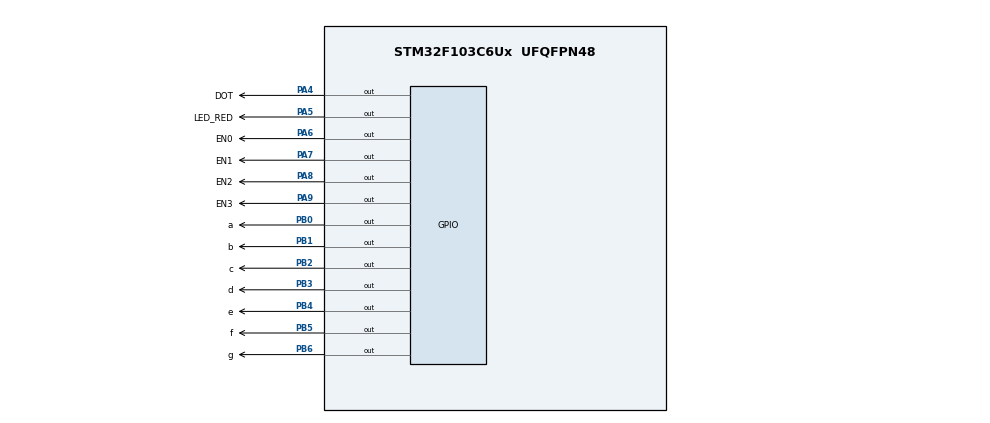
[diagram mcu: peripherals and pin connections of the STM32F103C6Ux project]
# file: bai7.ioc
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Mcu.Family=STM32F1
Mcu.Name=STM32F103C6Ux
Mcu.Package=UFQFPN48
NVIC.PriorityGroup=NVIC_PRIORITYGROUP_4
NVIC.TIM2_IRQn=true\:0\:0\:false\:false\:true\:true\:true
PA4.GPIO_Label=DOT
PA4.Signal=GPIO_Output
PA5.GPIO_Label=LED_RED
PA5.Signal=GPIO_Output
PA6.GPIO_Label=EN0
PA6.Signal=GPIO_Output
PA7.GPIO_Label=EN1
PA7.Signal=GPIO_Output
PA8.GPIO_Label=EN2
PA8.Signal=GPIO_Output
PA9.GPIO_Label=EN3
PA9.Signal=GPIO_Output
PB0.GPIO_Label=a
PB0.Signal=GPIO_Output
PB1.GPIO_Label=b
PB1.Signal=GPIO_Output
PB2.GPIO_Label=c
PB2.Signal=GPIO_Output
PB3.GPIO_Label=d
PB3.Signal=GPIO_Output
PB4.GPIO_Label=e
PB4.Signal=GPIO_Output
PB5.GPIO_Label=f
PB5.Signal=GPIO_Output
PB6.GPIO_Label=g
PB6.Signal=GPIO_Output
ProjectManager.HeapSize=0x200
ProjectManager.StackSize=0x400
ProjectManager.TargetToolchain=STM32CubeIDE
RCC.APB1Freq_Value=8000000
RCC.APB2Freq_Value=8000000
TIM2.Period=9
TIM2.Prescaler=7999
VP_SYS_VS_ND.Mode=No_Debug
VP_TIM2_VS_ClockSourceINT.Mode=Internal
board=custom

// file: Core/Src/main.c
/* USER CODE BEGIN Header */
/**
  ******************************************************************************
  * @file           : main.c
  * @brief          : Main program body
  ******************************************************************************
  * @attention
  *
  * <h2><center>&copy; Copyright (c) 2023 STMicroelectronics.
  * All rights reserved.</center></h2>
  *
  * This software component is licensed by ST under BSD 3-Clause license,
  * the "License"; You may not use this file except in compliance with the
  * License. You may obtain a copy of the License at:
  *                        opensource.org/licenses/BSD-3-Clause
  *
  ******************************************************************************
  */
/* USER CODE END Header */
#include "main.h"
#include "led.h"
#include "set_init.h"
#include "software_timer.h"

TIM_HandleTypeDef htim2;

void SystemClock_Config(void);
static void MX_GPIO_Init(void);
static void MX_TIM2_Init(void);

int main(void)
{

  /* MCU Configuration--------------------------------------------------------*/

  /* Reset of all peripherals, Initializes the Flash interface and the Systick. */
  HAL_Init();

  /* Configure the system clock */
  SystemClock_Config();

  /* Initialize all configured peripherals */
  MX_GPIO_Init();
  MX_TIM2_Init();
  HAL_TIM_Base_Start_IT(&htim2);
  set_init();
  setTimer0(1000);
  updateClockBuffer();
  /* Infinite loop */
  while (1)
  {
	  if(timer0_flag == 1){
		  second++;
		  	if(second >= 60){
		  		second = 0;
		  		minute++;
		  	}
		  	if(minute >= 60){
		  		minute = 0;
		  		hour++;
		  	}
		  	if(hour >= 24){
		  		hour = 0;
		  	}
		  	updateClockBuffer();
		  	setTimer0(1000);
	  }
   }
}

void SystemClock_Config(void)
{
  RCC_OscInitTypeDef RCC_OscInitStruct = {0};
  RCC_ClkInitTypeDef RCC_ClkInitStruct = {0};

  /** Initializes the RCC Oscillators according to the specified parameters
  * in the RCC_OscInitTypeDef structure.
  */
  RCC_OscInitStruct.OscillatorType = RCC_OSCILLATORTYPE_HSI;
  RCC_OscInitStruct.HSIState = RCC_HSI_ON;
  RCC_OscInitStruct.HSICalibrationValue = RCC_HSICALIBRATION_DEFAULT;
  RCC_OscInitStruct.PLL.PLLState = RCC_PLL_NONE;
  if (HAL_RCC_OscConfig(&RCC_OscInitStruct) != HAL_OK)
  {
    Error_Handler();
  }
  /** Initializes the CPU, AHB and APB buses clocks
  */
  RCC_ClkInitStruct.ClockType = RCC_CLOCKTYPE_HCLK|RCC_CLOCKTYPE_SYSCLK
                              |RCC_CLOCKTYPE_PCLK1|RCC_CLOCKTYPE_PCLK2;
  RCC_ClkInitStruct.SYSCLKSource = RCC_SYSCLKSOURCE_HSI;
  RCC_ClkInitStruct.AHBCLKDivider = RCC_SYSCLK_DIV1;
  RCC_ClkInitStruct.APB1CLKDivider = RCC_HCLK_DIV1;
  RCC_ClkInitStruct.APB2CLKDivider = RCC_HCLK_DIV1;

  if (HAL_RCC_ClockConfig(&RCC_ClkInitStruct, FLASH_LATENCY_0) != HAL_OK)
  {
    Error_Handler();
  }
}

static void MX_TIM2_Init(void)
{

  TIM_ClockConfigTypeDef sClockSourceConfig = {0};
  TIM_MasterConfigTypeDef sMasterConfig = {0};

  htim2.Instance = TIM2;
  htim2.Init.Prescaler = 7999;
  htim2.Init.CounterMode = TIM_COUNTERMODE_UP;
  htim2.Init.Period = 9;
  htim2.Init.ClockDivision = TIM_CLOCKDIVISION_DIV1;
  htim2.Init.AutoReloadPreload = TIM_AUTORELOAD_PRELOAD_DISABLE;
  if (HAL_TIM_Base_Init(&htim2) != HAL_OK)
  {
    Error_Handler();
  }
  sClockSourceConfig.ClockSource = TIM_CLOCKSOURCE_INTERNAL;
  if (HAL_TIM_ConfigClockSource(&htim2, &sClockSourceConfig) != HAL_OK)
  {
    Error_Handler();
  }
  sMasterConfig.MasterOutputTrigger = TIM_TRGO_RESET;
  sMasterConfig.MasterSlaveMode = TIM_MASTERSLAVEMODE_DISABLE;
  if (HAL_TIMEx_MasterConfigSynchronization(&htim2, &sMasterConfig) != HAL_OK)
  {
    Error_Handler();
  }

}

static void MX_GPIO_Init(void)
{
  GPIO_InitTypeDef GPIO_InitStruct = {0};

  /* GPIO Ports Clock Enable */
  __HAL_RCC_GPIOA_CLK_ENABLE();
  __HAL_RCC_GPIOB_CLK_ENABLE();

  /*Configure GPIO pin Output Level */
  HAL_GPIO_WritePin(GPIOA, DOT_Pin|LED_RED_Pin|EN0_Pin|EN1_Pin
                          |EN2_Pin|EN3_Pin, GPIO_PIN_RESET);

  /*Configure GPIO pin Output Level */
  HAL_GPIO_WritePin(GPIOB, a_Pin|b_Pin|c_Pin|d_Pin
                          |e_Pin|f_Pin|g_Pin, GPIO_PIN_RESET);

  /*Configure GPIO pins : DOT_Pin LED_RED_Pin EN0_Pin EN1_Pin
                           EN2_Pin EN3_Pin */
  GPIO_InitStruct.Pin = DOT_Pin|LED_RED_Pin|EN0_Pin|EN1_Pin
                          |EN2_Pin|EN3_Pin;
  GPIO_InitStruct.Mode = GPIO_MODE_OUTPUT_PP;
  GPIO_InitStruct.Pull = GPIO_NOPULL;
  GPIO_InitStruct.Speed = GPIO_SPEED_FREQ_LOW;
  HAL_GPIO_Init(GPIOA, &GPIO_InitStruct);

  /*Configure GPIO pins : a_Pin b_Pin c_Pin d_Pin
                           e_Pin f_Pin g_Pin */
  GPIO_InitStruct.Pin = a_Pin|b_Pin|c_Pin|d_Pin
                          |e_Pin|f_Pin|g_Pin;
  GPIO_InitStruct.Mode = GPIO_MODE_OUTPUT_PP;
  GPIO_InitStruct.Pull = GPIO_NOPULL;
  GPIO_InitStruct.Speed = GPIO_SPEED_FREQ_LOW;
  HAL_GPIO_Init(GPIOB, &GPIO_InitStruct);

}

/* USER CODE BEGIN 4 */
int counter = 25;
int timer_led = 100;
void HAL_TIM_PeriodElapsedCallback(TIM_HandleTypeDef *htim){
	timer_run();
	if(counter > 0){
		counter--;
		if(counter <= 0){
			update7SEG(index_led);
			counter = 25;
			index_led++;
			if(index_led > 3) index_led = 0;
		}
	}
	if(timer_led > 0){
		timer_led--;
		if(timer_led <= 0){
			changeLed();
			timer_led = 100;
		}
	}
}
/* USER CODE END 4 */

void Error_Handler(void)
{
  __disable_irq();
  while (1)
  {
  }
}

/************************ (C) COPYRIGHT STMicroelectronics *****END OF FILE****/
